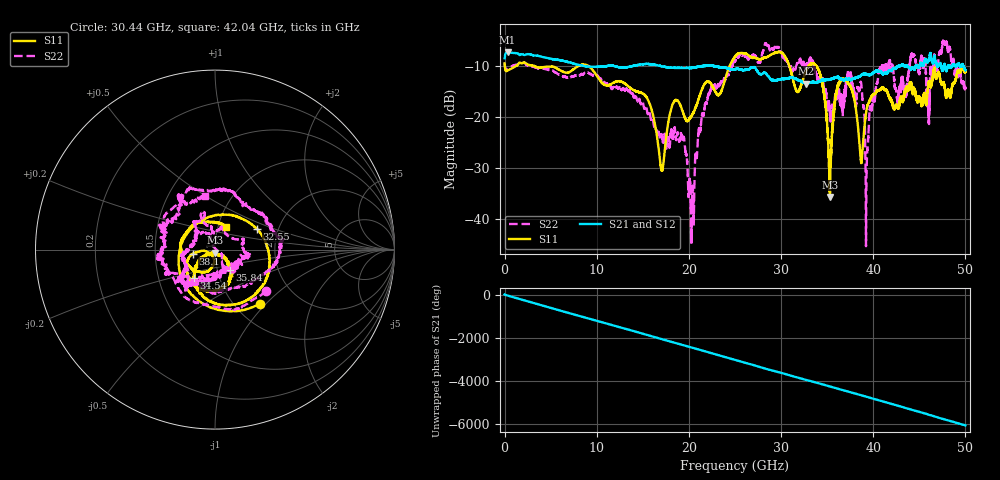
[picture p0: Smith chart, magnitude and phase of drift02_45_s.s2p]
!Created with skrf (http://scikit-rf.org).
# Hz S RI R 50.0
!freq ReS11 ImS11 ReS21 ImS21 ReS12 ImS12 ReS22 ImS22
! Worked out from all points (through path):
!   10001 points, 300 kHz to 50 GHz, reference 50 ohm
!   highest |S21| = -7.32 dB at 320.3 MHz (marker M1); lowest = -13.4 dB at 32.74 GHz (marker M2)
!   group delay of S21, straight-line fit = 335 ps
!   lowest |S11| = -35.7 dB at 35.31 GHz (marker M3), VSWR 1.03, Z = 49.9 - j1.65 ohm
!   |S11| at or under -10 dB: 3.233 GHz to 8.006 GHz (4.774 GHz wide, 85 % of centre); 9.106 GHz to 24.42 GHz (15.31 GHz wide, 91.3 % of centre); 33.83 GHz to end of sweep (the widest 3 of 8)
!   |S22| runs from -45.3 to -5.0 dB; largest |S21 - S12| = 0.014
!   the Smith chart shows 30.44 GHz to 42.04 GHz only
!   S11 on the Smith chart (normalised r, x): 30.44 GHz: 1.29, -0.92; 32.55 GHz: 1.56, +0.38; 34.54 GHz: 0.75, -0.25; 35.84 GHz: 1.15, -0.26; 38.1 GHz: 0.78, -0.04; 42.04 GHz: 1.09, +0.28
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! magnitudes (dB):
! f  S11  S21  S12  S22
! 300 kHz  -9.5  -8.5  -8.5  -9.4
! 320.3 MHz  -10.9  -7.3  -7.3  -10.6
! 8.335 GHz  -9.7  -9.9  -9.9  -11.6
! 16.67 GHz  -25.6  -9.9  -9.9  -22.9
! 19.3 GHz  -18.8  -10.4  -10.3  -24.4
! 20.37 GHz  -19.5  -10.3  -10.3  -34.8
! 21.94 GHz  -13.1  -9.9  -10.0  -17.2
! 25 GHz  -8.1  -10.6  -10.6  -9.0
! 30.44 GHz  -8.1  -12.5  -12.5  -8.7
! 32.55 GHz  -11.7  -13.2  -13.3  -10.0
! 32.74 GHz  -10.9  -13.4  -13.5  -10.0
! 33.34 GHz  -9.5  -13.1  -13.2  -8.9
! 34.54 GHz  -14.0  -12.7  -12.7  -12.7
! 35.31 GHz  -35.7  -12.6  -12.5  -19.8
! 35.84 GHz  -17.2  -12.3  -12.3  -16.1
! 38.1 GHz  -18.1  -12.3  -12.2  -17.6
! 38.7 GHz  -28.9  -11.8  -11.8  -13.4
! 39.32 GHz  -18.2  -11.6  -11.6  -27.9
! 41.67 GHz  -15.9  -10.9  -11.1  -9.7
! 42.04 GHz  -17.2  -10.8  -10.7  -10.3
! 47.77 GHz  -14.4  -9.8  -9.7  -5.6
! 50 GHz  -11.2  -10.8  -10.8  -14.2
